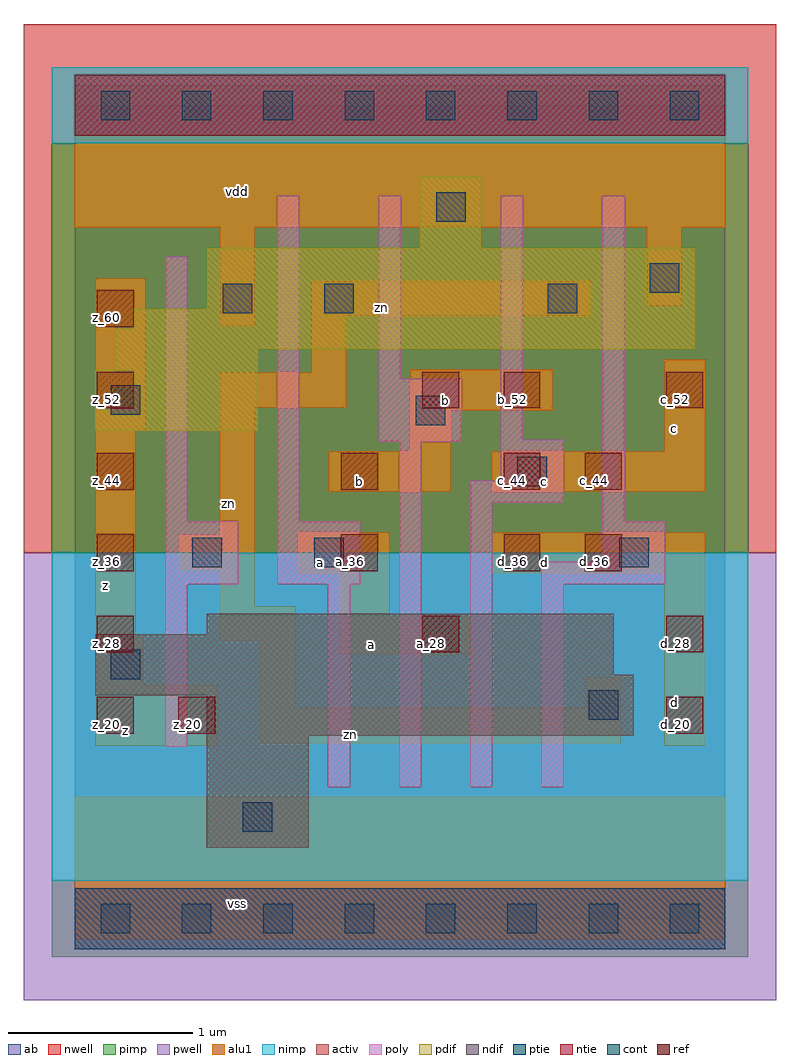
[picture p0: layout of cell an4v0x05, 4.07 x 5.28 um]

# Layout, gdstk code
import gdstk
lib = gdstk.Library(unit=1e-6, precision=2.5e-09)
def R(c, l, rs):  # rectangles x0, y0, x1, y1
    for r in rs: c.add(gdstk.rectangle(r[:2], r[2:], *l))
def A(c, l, x, y, w, h, nx, ny, dx, dy):  # array of equal rectangles
    R(c, l, [(x+i*dx, y+j*dy, x+i*dx+w, y+j*dy+h) for i in range(nx) for j in range(ny)])
ndif = (3, 0)
pdif = (4, 0)
ntie = (5, 0)
ptie = (6, 0)
ref = (24, 0)
cont = (25, 0)
pwell = (41, 0)
nwell = (42, 0)
activ = (43, 0)
pimp = (44, 0)
nimp = (45, 0)
poly = (46, 0)
alu1 = (49, 0)
ab = (63, 0)

an4v0x05 = lib.new_cell('an4v0x05')
R(an4v0x05, ndif, [(0.715,0.385,1.265,0.99), (0.715,0.99,3.025,1.21), (0.11,1.21,3.025,1.32), (0.11,1.32,2.915,1.54), (0.715,1.54,2.915,1.65)])
R(an4v0x05, pdif, [(0.11,2.64,0.99,2.97), (0.22,2.97,0.99,3.08), (0.22,3.08,3.355,3.3), (0.715,3.3,3.355,3.63), (1.87,3.63,2.2,4.015)])
R(an4v0x05, ntie, [(0,4.235,3.52,4.565)])
R(an4v0x05, ptie, [(0,-0.165,3.52,0.165)])
A(an4v0x05, ref, 0.12, 1, 0.2, 0.2, 1, 6, 0, 0.44)
A(an4v0x05, ref, 2.32, 1.88, 0.2, 0.2, 1, 3, 0, 0.44)
R(an4v0x05, ref, [(0.56,1,0.76,1.2), (3.2,1,3.4,1.2), (1.88,1.44,2.08,1.64), (3.2,1.44,3.4,1.64), (1.44,1.88,1.64,2.08), (2.76,1.88,2.96,2.08), (1.44,2.32,1.64,2.52), (2.76,2.32,2.96,2.52), (1.88,2.76,2.08,2.96), (3.2,2.76,3.4,2.96)])
A(an4v0x05, cont, 0.14, -0.08, 0.16, 0.16, 8, 2, 0.44, 4.4)
R(an4v0x05, cont, [(0.91,0.47,1.07,0.63), (2.78,1.075,2.94,1.235), (0.195,1.295,0.355,1.455), (0.635,1.9,0.795,2.06), (1.295,1.9,1.455,2.06), (2.945,1.9,3.105,2.06), (2.395,2.34,2.555,2.5), (1.845,2.67,2.005,2.83), (0.195,2.725,0.355,2.885), (0.8,3.275,0.96,3.435), (1.35,3.275,1.51,3.435), (2.56,3.275,2.72,3.435), (3.11,3.385,3.27,3.545), (1.955,3.77,2.115,3.93)])
R(an4v0x05, pwell, [(-0.275,-0.44,3.795,1.98)])
R(an4v0x05, nwell, [(-0.275,1.98,3.795,4.84)])
R(an4v0x05, activ, [(0,-0.165,3.52,0.165), (0.715,0.385,1.265,0.99), (0.715,0.99,3.025,1.21), (0.11,1.21,3.025,1.32), (0.11,1.32,2.915,1.54), (0.715,1.54,2.915,1.65), (0.11,2.64,0.99,2.97), (0.22,2.97,0.99,3.08), (0.22,3.08,3.355,3.3), (0.715,3.3,3.355,3.63), (1.87,3.63,2.2,4.015), (0,4.235,3.52,4.565)])
R(an4v0x05, pimp, [(-0.125,-0.205,3.645,0.205), (-0.125,1.98,3.645,4.195)])
R(an4v0x05, nimp, [(-0.125,0.205,3.645,1.98), (-0.125,4.195,3.645,4.605)])
R(an4v0x05, poly, [(1.37,0.71,1.49,1.81), (1.755,0.71,1.875,2.58), (2.14,0.71,2.26,2.25), (2.525,0.71,2.645,1.81), (0.49,0.93,0.61,1.81), (0.49,1.81,0.885,2.15), (1.095,1.81,1.545,2.15), (2.525,1.81,3.195,1.93), (2.855,1.93,3.195,2.15), (0.49,2.15,0.61,3.58), (1.095,2.15,1.215,3.91), (2.855,2.15,2.975,3.91), (2.14,2.25,2.645,2.37), (2.305,2.37,2.645,2.59), (1.645,2.58,2.095,2.92), (2.305,2.59,2.425,3.91), (1.645,2.92,1.765,3.91)])
R(an4v0x05, alu1, [(0,-0.11,3.52,0.66), (0.11,0.935,0.77,1.265), (3.19,0.935,3.41,1.87), (1.005,0.95,2.955,1.14), (1.005,1.14,1.195,1.5), (2.765,1.14,2.955,1.305), (0.11,1.265,0.37,1.525), (1.43,1.43,2.145,1.65), (0.785,1.5,1.195,1.69), (0.11,1.525,0.33,2.64), (1.43,1.65,1.705,1.87), (0.785,1.69,0.975,1.885), (1.21,1.87,1.705,2.09), (2.255,1.87,3.41,2.09), (0.565,1.885,0.975,2.075), (0.785,2.075,0.975,2.765), (1.375,2.31,2.035,2.53), (2.255,2.31,3.41,2.53), (1.815,2.53,2.035,2.75), (3.19,2.53,3.41,3.025), (0.11,2.64,0.385,3.465), (1.815,2.75,2.585,2.97), (0.785,2.765,1.47,2.955), (1.28,2.955,1.47,3.26), (0.785,3.205,0.975,3.74), (1.28,3.26,2.79,3.45), (3.095,3.315,3.285,3.74), (0,3.74,3.52,4.51)])
R(an4v0x05, ab, [(0,0,3.52,4.4)])
an4v0x05.add(gdstk.Label('vss', (0.88,0.0825), layer=49, texttype=0))
an4v0x05.add(gdstk.Label('d', (3.245,1.1675), layer=49, texttype=0))
an4v0x05.add(gdstk.Label('zn', (1.4925,0.9975), layer=49, texttype=0))
an4v0x05.add(gdstk.Label('a', (1.6075,1.485), layer=49, texttype=0))
an4v0x05.add(gdstk.Label('z', (0.275,1.0175), layer=49, texttype=0))
an4v0x05.add(gdstk.Label('d', (2.5425,1.925), layer=49, texttype=0))
an4v0x05.add(gdstk.Label('a', (1.3325,1.925), layer=49, texttype=0))
an4v0x05.add(gdstk.Label('c', (2.5425,2.365), layer=49, texttype=0))
an4v0x05.add(gdstk.Label('b', (1.54,2.365), layer=49, texttype=0))
an4v0x05.add(gdstk.Label('c', (3.245,2.6525), layer=49, texttype=0))
an4v0x05.add(gdstk.Label('b', (2.0075,2.805), layer=49, texttype=0))
an4v0x05.add(gdstk.Label('zn', (0.8325,2.2475), layer=49, texttype=0))
an4v0x05.add(gdstk.Label('z', (0.165,1.8025), layer=49, texttype=0))
an4v0x05.add(gdstk.Label('zn', (1.6575,3.3075), layer=49, texttype=0))
an4v0x05.add(gdstk.Label('vdd', (0.88,3.9325), layer=49, texttype=0))
an4v0x05.add(gdstk.Label('z_20', (0.61,1.05), layer=24, texttype=0))
an4v0x05.add(gdstk.Label('a_36', (1.49,1.93), layer=24, texttype=0))
an4v0x05.add(gdstk.Label('b_44', (1.49,2.37), layer=24, texttype=0))
an4v0x05.add(gdstk.Label('a_28', (1.93,1.49), layer=24, texttype=0))
an4v0x05.add(gdstk.Label('b_52', (1.93,2.81), layer=24, texttype=0))
an4v0x05.add(gdstk.Label('z_20', (0.17,1.05), layer=24, texttype=0))
an4v0x05.add(gdstk.Label('z_28', (0.17,1.49), layer=24, texttype=0))
an4v0x05.add(gdstk.Label('z_36', (0.17,1.93), layer=24, texttype=0))
an4v0x05.add(gdstk.Label('z_44', (0.17,2.37), layer=24, texttype=0))
an4v0x05.add(gdstk.Label('z_52', (0.17,2.81), layer=24, texttype=0))
an4v0x05.add(gdstk.Label('z_60', (0.17,3.25), layer=24, texttype=0))
an4v0x05.add(gdstk.Label('d_36', (2.37,1.93), layer=24, texttype=0))
an4v0x05.add(gdstk.Label('c_44', (2.37,2.37), layer=24, texttype=0))
an4v0x05.add(gdstk.Label('b_52', (2.37,2.81), layer=24, texttype=0))
an4v0x05.add(gdstk.Label('d_36', (2.81,1.93), layer=24, texttype=0))
an4v0x05.add(gdstk.Label('c_44', (2.81,2.37), layer=24, texttype=0))
an4v0x05.add(gdstk.Label('d_20', (3.25,1.05), layer=24, texttype=0))
an4v0x05.add(gdstk.Label('d_28', (3.25,1.49), layer=24, texttype=0))
an4v0x05.add(gdstk.Label('c_52', (3.25,2.81), layer=24, texttype=0))

lib.write_gds('an4v0x05.gds')
